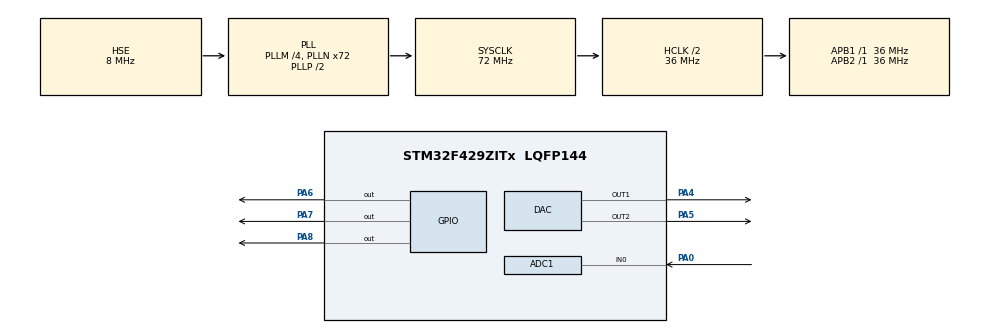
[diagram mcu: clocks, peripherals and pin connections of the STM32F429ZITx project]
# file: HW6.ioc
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ADC1.Channel-0\#ChannelRegularConversion=ADC_CHANNEL_0
ADC1.NbrOfConversionFlag=1
ADC1.Rank-0\#ChannelRegularConversion=1
ADC1.SamplingTime-0\#ChannelRegularConversion=ADC_SAMPLETIME_3CYCLES
ADC1.master=1
Mcu.Family=STM32F4
Mcu.Name=STM32F429ZITx
Mcu.Package=LQFP144
NVIC.PriorityGroup=NVIC_PRIORITYGROUP_4
NVIC.TIM2_IRQn=true\:0\:0\:false\:false\:true\:true\:true
NVIC.TIM3_IRQn=true\:0\:0\:false\:false\:true\:true\:true
NVIC.TIM4_IRQn=true\:0\:0\:false\:false\:true\:true\:true
NVIC.TIM5_IRQn=true\:0\:0\:false\:false\:true\:true\:true
PA0/WKUP.Signal=ADCx_IN0
PA4.Signal=COMP_DAC1_group
PA5.Signal=COMP_DAC2_group
PA6.GPIO_Speed=GPIO_SPEED_FREQ_VERY_HIGH
PA6.Signal=GPIO_Output
PA7.GPIO_Speed=GPIO_SPEED_FREQ_VERY_HIGH
PA7.Signal=GPIO_Output
PA8.GPIO_Speed=GPIO_SPEED_FREQ_VERY_HIGH
PA8.Signal=GPIO_Output
PH0/OSC_IN.Mode=HSE-External-Oscillator
PH0/OSC_IN.Signal=RCC_OSC_IN
PH1/OSC_OUT.Mode=HSE-External-Oscillator
PH1/OSC_OUT.Signal=RCC_OSC_OUT
ProjectManager.HeapSize=0x200
ProjectManager.StackSize=0x400
ProjectManager.TargetToolchain=EWARM V8.32
RCC.48MHZClocksFreq_Value=36000000
RCC.AHBCLKDivider=RCC_SYSCLK_DIV2
RCC.AHBFreq_Value=36000000
RCC.APB1Freq_Value=36000000
RCC.APB1TimFreq_Value=36000000
RCC.APB2Freq_Value=36000000
RCC.APB2TimFreq_Value=36000000
RCC.CortexFreq_Value=36000000
RCC.HCLKFreq_Value=36000000
RCC.HSE_VALUE=8000000
RCC.HSI_VALUE=16000000
RCC.LSE_VALUE=32768
RCC.PLLM=4
RCC.PLLN=72
RCC.PLLSourceVirtual=RCC_PLLSOURCE_HSE
RCC.SYSCLKFreq_VALUE=72000000
RCC.SYSCLKSource=RCC_SYSCLKSOURCE_PLLCLK
RCC.VCOOutputFreq_Value=144000000
SH.ADCx_IN0.0=ADC1_IN0,IN0
SH.COMP_DAC1_group.0=DAC_OUT1,DAC_OUT1
SH.COMP_DAC2_group.0=DAC_OUT2,DAC_OUT2
TIM2.Period=29999
TIM2.Prescaler=36000
TIM3.Period=49999
TIM3.Prescaler=36000
TIM4.Period=14999
TIM4.Prescaler=36000
TIM5.Period=49
TIM5.Prescaler=36000
VP_TIM2_VS_ClockSourceINT.Mode=Internal
VP_TIM3_VS_ClockSourceINT.Mode=Internal
VP_TIM4_VS_ClockSourceINT.Mode=Internal
VP_TIM5_VS_ClockSourceINT.Mode=Internal
board=custom

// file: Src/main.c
/* USER CODE BEGIN Header */
/**
  ******************************************************************************
  * @file           : main.c
  * @brief          : Main program body
  ******************************************************************************
  * @attention
  *
  * <h2><center>&copy; Copyright (c) 2020 STMicroelectronics.
  * All rights reserved.</center></h2>
  *
  * This software component is licensed by ST under BSD 3-Clause license,
  * the "License"; You may not use this file except in compliance with the
  * License. You may obtain a copy of the License at:
  *                        opensource.org/licenses/BSD-3-Clause
  *
  ******************************************************************************
  */
/* USER CODE END Header */

#include "main.h"

ADC_HandleTypeDef hadc1;

DAC_HandleTypeDef hdac;

TIM_HandleTypeDef htim2;
TIM_HandleTypeDef htim3;
TIM_HandleTypeDef htim4;
TIM_HandleTypeDef htim5;

void SystemClock_Config(void);
static void MX_GPIO_Init(void);
static void MX_ADC1_Init(void);
static void MX_DAC_Init(void);
static void MX_TIM2_Init(void);
static void MX_TIM3_Init(void);
static void MX_TIM4_Init(void);
static void MX_TIM5_Init(void);

/* USER CODE BEGIN 0 */
extern int tim2flag,tim3flag,tim4flag;
extern float adc1value;
/* USER CODE END 0 */

int main(void)
{

  /* MCU Configuration--------------------------------------------------------*/

  /* Reset of all peripherals, Initializes the Flash interface and the Systick. */
  HAL_Init();

  /* Configure the system clock */
  SystemClock_Config();

  /* Initialize all configured peripherals */
  MX_GPIO_Init();
  MX_ADC1_Init();
  MX_DAC_Init();
  MX_TIM2_Init();
  MX_TIM3_Init();
  MX_TIM4_Init();
  MX_TIM5_Init();
  /* USER CODE BEGIN 2 */
  HAL_GPIO_WritePin(GPIOA,GPIO_PIN_6, GPIO_PIN_RESET);  // p1 = 0;
  HAL_GPIO_WritePin(GPIOA,GPIO_PIN_7, GPIO_PIN_RESET);  // p2 = 0;
  HAL_GPIO_WritePin(GPIOA,GPIO_PIN_8, GPIO_PIN_RESET);  // f = 0;
  /* USER CODE END 2 */

  /* Infinite loop */
  /* USER CODE BEGIN WHILE */
  while (1)
  {
    // begin step 2
    HAL_GPIO_WritePin(GPIOA,GPIO_PIN_6, GPIO_PIN_SET);                   // p1 = 1;
    tim2flag = 0;                                                       // reset the flag for timer 2
    HAL_TIM_Base_Start(&htim2);                                         // start the 30 sec timer
    HAL_DAC_SetValue(&hdac, DAC_CHANNEL_1, DAC_ALIGN_12B_R,4095);      // write 1 to sd1 beacuse the vat is full
    HAL_DAC_SetValue(&hdac, DAC_CHANNEL_2, DAC_ALIGN_12B_R,0);         // write 0 to sd2 beacuse the vat is full
    float sd1value = HAL_DAC_GetValue(&hdac, DAC_CHANNEL_1);
    if ( tim2flag == 1 || sd1value >= 4095){                            // if the timer hits 30 sec(when flag ==1) , or sd1 determined 3.3 volts
          HAL_GPIO_WritePin(GPIOA,GPIO_PIN_6, GPIO_PIN_RESET);          // turn off p1;
          HAL_TIM_Base_Stop(&htim2);                                    // turn off the timer cuz the vat is full now
    }
    else {
      HAL_GPIO_WritePin(GPIOA,GPIO_PIN_6, GPIO_PIN_SET);                           // else keep the pump on;
    }
    // end step 2

    // begin step 3
      tim3flag = 0;
      HAL_TIM_Base_Start(&htim3);                                // start the 50 sec timer
      HAL_GPIO_WritePin(GPIOA,GPIO_PIN_8, GPIO_PIN_SET);         // turn on the filter
      if ( tim3flag == 1 || adc1value >= 2355){                  // if the timer hits 50 sec, or dac determined >= 2.3 volts
          HAL_GPIO_WritePin(GPIOA,GPIO_PIN_8, GPIO_PIN_RESET);    // turn off the filter;
          HAL_TIM_Base_Stop(&htim3);                             // turn off the timer
      }
      else {
        HAL_GPIO_WritePin(GPIOA,GPIO_PIN_8, GPIO_PIN_SET);           // else keep the filter on;
      }
    // end step 3

    // begin step 4
    HAL_GPIO_WritePin(GPIOA,GPIO_PIN_7, GPIO_PIN_SET);                   // p2 = 1;
    tim4flag = 0;                                                       // reset the flag for timer 4
    HAL_TIM_Base_Start(&htim2);                                         // start the 30 sec timer
    HAL_DAC_SetValue(&hdac, DAC_CHANNEL_1, DAC_ALIGN_12B_R,0);          // write 0 to sd1 beacuse the vat is empty
    HAL_DAC_SetValue(&hdac, DAC_CHANNEL_2, DAC_ALIGN_12B_R,4095);       // write 1 to sd2 beacuse the vat is empty
    float sd2value = HAL_DAC_GetValue(&hdac, DAC_CHANNEL_2);
    if ( tim4flag == 1 || sd2value >= 4095){                            // if the timer hits 15 sec(when flag == 1) , or sd2 determined 0 volts
          HAL_GPIO_WritePin(GPIOA,GPIO_PIN_7, GPIO_PIN_RESET);           // turn off p2;
          HAL_TIM_Base_Stop(&htim4);                                    // turn off the timer cuz the vat is empty now
    }
    else if (( tim4flag == 1 || sd2value <= 0)) {
      HAL_GPIO_WritePin(GPIOA,GPIO_PIN_7, GPIO_PIN_SET);                 // else keep the pump on;
    }
    // end step 4

    // begin step 5
    HAL_Delay(25000);
    // end step 5
    /* USER CODE END WHILE */

  }
}

void SystemClock_Config(void)
{
  RCC_OscInitTypeDef RCC_OscInitStruct = {0};
  RCC_ClkInitTypeDef RCC_ClkInitStruct = {0};

  /** Configure the main internal regulator output voltage
  */
  __HAL_RCC_PWR_CLK_ENABLE();
  __HAL_PWR_VOLTAGESCALING_CONFIG(PWR_REGULATOR_VOLTAGE_SCALE3);
  /** Initializes the CPU, AHB and APB busses clocks
  */
  RCC_OscInitStruct.OscillatorType = RCC_OSCILLATORTYPE_HSE;
  RCC_OscInitStruct.HSEState = RCC_HSE_ON;
  RCC_OscInitStruct.PLL.PLLState = RCC_PLL_ON;
  RCC_OscInitStruct.PLL.PLLSource = RCC_PLLSOURCE_HSE;
  RCC_OscInitStruct.PLL.PLLM = 4;
  RCC_OscInitStruct.PLL.PLLN = 72;
  RCC_OscInitStruct.PLL.PLLP = RCC_PLLP_DIV2;
  RCC_OscInitStruct.PLL.PLLQ = 4;
  if (HAL_RCC_OscConfig(&RCC_OscInitStruct) != HAL_OK)
  {
    Error_Handler();
  }
  /** Initializes the CPU, AHB and APB busses clocks
  */
  RCC_ClkInitStruct.ClockType = RCC_CLOCKTYPE_HCLK|RCC_CLOCKTYPE_SYSCLK
                              |RCC_CLOCKTYPE_PCLK1|RCC_CLOCKTYPE_PCLK2;
  RCC_ClkInitStruct.SYSCLKSource = RCC_SYSCLKSOURCE_PLLCLK;
  RCC_ClkInitStruct.AHBCLKDivider = RCC_SYSCLK_DIV2;
  RCC_ClkInitStruct.APB1CLKDivider = RCC_HCLK_DIV1;
  RCC_ClkInitStruct.APB2CLKDivider = RCC_HCLK_DIV1;

  if (HAL_RCC_ClockConfig(&RCC_ClkInitStruct, FLASH_LATENCY_1) != HAL_OK)
  {
    Error_Handler();
  }
}

static void MX_ADC1_Init(void)
{

  ADC_ChannelConfTypeDef sConfig = {0};

  /** Configure the global features of the ADC (Clock, Resolution, Data Alignment and number of conversion)
  */
  hadc1.Instance = ADC1;
  hadc1.Init.ClockPrescaler = ADC_CLOCK_SYNC_PCLK_DIV2;
  hadc1.Init.Resolution = ADC_RESOLUTION_12B;
  hadc1.Init.ScanConvMode = DISABLE;
  hadc1.Init.ContinuousConvMode = DISABLE;
  hadc1.Init.DiscontinuousConvMode = DISABLE;
  hadc1.Init.ExternalTrigConvEdge = ADC_EXTERNALTRIGCONVEDGE_NONE;
  hadc1.Init.ExternalTrigConv = ADC_SOFTWARE_START;
  hadc1.Init.DataAlign = ADC_DATAALIGN_RIGHT;
  hadc1.Init.NbrOfConversion = 1;
  hadc1.Init.DMAContinuousRequests = DISABLE;
  hadc1.Init.EOCSelection = ADC_EOC_SINGLE_CONV;
  if (HAL_ADC_Init(&hadc1) != HAL_OK)
  {
    Error_Handler();
  }
  /** Configure for the selected ADC regular channel its corresponding rank in the sequencer and its sample time.
  */
  sConfig.Channel = ADC_CHANNEL_0;
  sConfig.Rank = 1;
  sConfig.SamplingTime = ADC_SAMPLETIME_3CYCLES;
  if (HAL_ADC_ConfigChannel(&hadc1, &sConfig) != HAL_OK)
  {
    Error_Handler();
  }

}

static void MX_DAC_Init(void)
{

  DAC_ChannelConfTypeDef sConfig = {0};

  /** DAC Initialization
  */
  hdac.Instance = DAC;
  if (HAL_DAC_Init(&hdac) != HAL_OK)
  {
    Error_Handler();
  }
  /** DAC channel OUT1 config
  */
  sConfig.DAC_Trigger = DAC_TRIGGER_NONE;
  sConfig.DAC_OutputBuffer = DAC_OUTPUTBUFFER_ENABLE;
  if (HAL_DAC_ConfigChannel(&hdac, &sConfig, DAC_CHANNEL_1) != HAL_OK)
  {
    Error_Handler();
  }
  /** DAC channel OUT2 config
  */
  if (HAL_DAC_ConfigChannel(&hdac, &sConfig, DAC_CHANNEL_2) != HAL_OK)
  {
    Error_Handler();
  }

}

static void MX_TIM2_Init(void)
{

  TIM_ClockConfigTypeDef sClockSourceConfig = {0};
  TIM_MasterConfigTypeDef sMasterConfig = {0};

  htim2.Instance = TIM2;
  htim2.Init.Prescaler = 36000;
  htim2.Init.CounterMode = TIM_COUNTERMODE_UP;
  htim2.Init.Period = 29999;
  htim2.Init.ClockDivision = TIM_CLOCKDIVISION_DIV1;
  htim2.Init.AutoReloadPreload = TIM_AUTORELOAD_PRELOAD_DISABLE;
  if (HAL_TIM_Base_Init(&htim2) != HAL_OK)
  {
    Error_Handler();
  }
  sClockSourceConfig.ClockSource = TIM_CLOCKSOURCE_INTERNAL;
  if (HAL_TIM_ConfigClockSource(&htim2, &sClockSourceConfig) != HAL_OK)
  {
    Error_Handler();
  }
  sMasterConfig.MasterOutputTrigger = TIM_TRGO_RESET;
  sMasterConfig.MasterSlaveMode = TIM_MASTERSLAVEMODE_DISABLE;
  if (HAL_TIMEx_MasterConfigSynchronization(&htim2, &sMasterConfig) != HAL_OK)
  {
    Error_Handler();
  }

}

static void MX_TIM3_Init(void)
{

  TIM_ClockConfigTypeDef sClockSourceConfig = {0};
  TIM_MasterConfigTypeDef sMasterConfig = {0};

  htim3.Instance = TIM3;
  htim3.Init.Prescaler = 36000;
  htim3.Init.CounterMode = TIM_COUNTERMODE_UP;
  htim3.Init.Period = 49999;
  htim3.Init.ClockDivision = TIM_CLOCKDIVISION_DIV1;
  htim3.Init.AutoReloadPreload = TIM_AUTORELOAD_PRELOAD_DISABLE;
  if (HAL_TIM_Base_Init(&htim3) != HAL_OK)
  {
    Error_Handler();
  }
  sClockSourceConfig.ClockSource = TIM_CLOCKSOURCE_INTERNAL;
  if (HAL_TIM_ConfigClockSource(&htim3, &sClockSourceConfig) != HAL_OK)
  {
    Error_Handler();
  }
  sMasterConfig.MasterOutputTrigger = TIM_TRGO_RESET;
  sMasterConfig.MasterSlaveMode = TIM_MASTERSLAVEMODE_DISABLE;
  if (HAL_TIMEx_MasterConfigSynchronization(&htim3, &sMasterConfig) != HAL_OK)
  {
    Error_Handler();
  }

}

static void MX_TIM4_Init(void)
{

  TIM_ClockConfigTypeDef sClockSourceConfig = {0};
  TIM_MasterConfigTypeDef sMasterConfig = {0};

  htim4.Instance = TIM4;
  htim4.Init.Prescaler = 36000;
  htim4.Init.CounterMode = TIM_COUNTERMODE_UP;
  htim4.Init.Period = 14999;
  htim4.Init.ClockDivision = TIM_CLOCKDIVISION_DIV1;
  htim4.Init.AutoReloadPreload = TIM_AUTORELOAD_PRELOAD_DISABLE;
  if (HAL_TIM_Base_Init(&htim4) != HAL_OK)
  {
    Error_Handler();
  }
  sClockSourceConfig.ClockSource = TIM_CLOCKSOURCE_INTERNAL;
  if (HAL_TIM_ConfigClockSource(&htim4, &sClockSourceConfig) != HAL_OK)
  {
    Error_Handler();
  }
  sMasterConfig.MasterOutputTrigger = TIM_TRGO_RESET;
  sMasterConfig.MasterSlaveMode = TIM_MASTERSLAVEMODE_DISABLE;
  if (HAL_TIMEx_MasterConfigSynchronization(&htim4, &sMasterConfig) != HAL_OK)
  {
    Error_Handler();
  }

}

static void MX_TIM5_Init(void)
{

  TIM_ClockConfigTypeDef sClockSourceConfig = {0};
  TIM_MasterConfigTypeDef sMasterConfig = {0};

  htim5.Instance = TIM5;
  htim5.Init.Prescaler = 36000;
  htim5.Init.CounterMode = TIM_COUNTERMODE_UP;
  htim5.Init.Period = 49;
  htim5.Init.ClockDivision = TIM_CLOCKDIVISION_DIV1;
  htim5.Init.AutoReloadPreload = TIM_AUTORELOAD_PRELOAD_DISABLE;
  if (HAL_TIM_Base_Init(&htim5) != HAL_OK)
  {
    Error_Handler();
  }
  sClockSourceConfig.ClockSource = TIM_CLOCKSOURCE_INTERNAL;
  if (HAL_TIM_ConfigClockSource(&htim5, &sClockSourceConfig) != HAL_OK)
  {
    Error_Handler();
  }
  sMasterConfig.MasterOutputTrigger = TIM_TRGO_RESET;
  sMasterConfig.MasterSlaveMode = TIM_MASTERSLAVEMODE_DISABLE;
  if (HAL_TIMEx_MasterConfigSynchronization(&htim5, &sMasterConfig) != HAL_OK)
  {
    Error_Handler();
  }

}

static void MX_GPIO_Init(void)
{
  GPIO_InitTypeDef GPIO_InitStruct = {0};

  /* GPIO Ports Clock Enable */
  __HAL_RCC_GPIOH_CLK_ENABLE();
  __HAL_RCC_GPIOA_CLK_ENABLE();

  /*Configure GPIO pin Output Level */
  HAL_GPIO_WritePin(GPIOA, GPIO_PIN_6|GPIO_PIN_7|GPIO_PIN_8, GPIO_PIN_RESET);

  /*Configure GPIO pins : PA6 PA7 PA8 */
  GPIO_InitStruct.Pin = GPIO_PIN_6|GPIO_PIN_7|GPIO_PIN_8;
  GPIO_InitStruct.Mode = GPIO_MODE_OUTPUT_PP;
  GPIO_InitStruct.Pull = GPIO_NOPULL;
  GPIO_InitStruct.Speed = GPIO_SPEED_FREQ_VERY_HIGH;
  HAL_GPIO_Init(GPIOA, &GPIO_InitStruct);

}

void Error_Handler(void)
{
}

/************************ (C) COPYRIGHT STMicroelectronics *****END OF FILE****/
